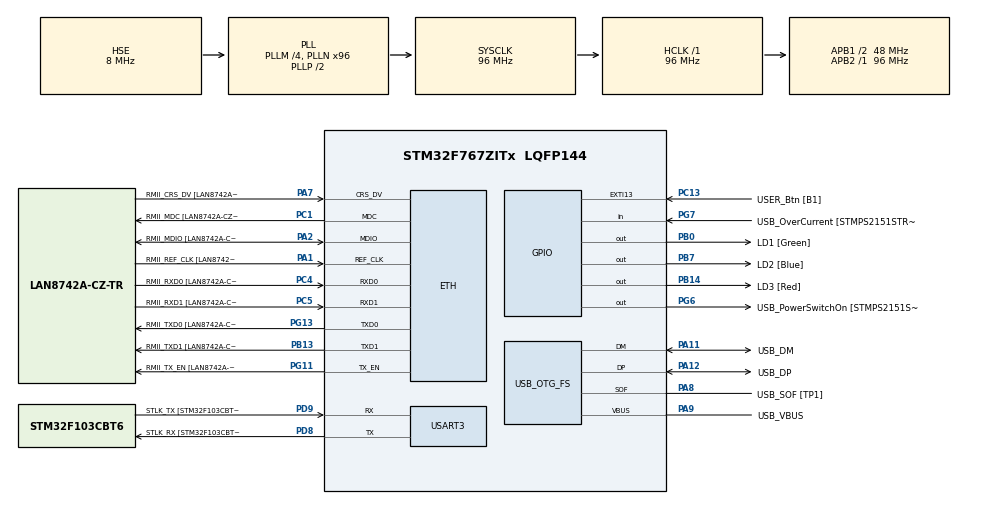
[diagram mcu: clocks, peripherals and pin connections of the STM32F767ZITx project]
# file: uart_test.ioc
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Mcu.Family=STM32F7
RCC.CortexFreq_Value=96000000
PG6.Signal=GPIO_Output
PB14.GPIO_Label=LD3 [Red]
PG6.GPIO_Label=USB_PowerSwitchOn [STMPS2151STR_EN]
PA14.GPIO_Label=TCK
RCC.SYSCLKSourceVirtual=RCC_SYSCLKSOURCE_PLLCLK
PA11.Mode=Device_Only
PB0.GPIO_Label=LD1 [Green]
PC14/OSC32_IN.Mode=LSE-External-Oscillator
PC5.Mode=RMII
PC13.GPIO_Label=USER_Btn [B1]
PB13.GPIO_Label=RMII_TXD1 [LAN8742A-CZ-TR_TXD1]
PB13.Signal=ETH_TXD1
PG13.Signal=ETH_TXD0
PD9.Mode=Asynchronous
PG11.Signal=ETH_TX_EN
RCC.SYSCLKSource=RCC_SYSCLKSOURCE_PLLCLK
ProjectManager.StackSize=0x400
USART3.VirtualMode-Asynchronous=VM_ASYNC
PA12.Signal=USB_OTG_FS_DP
ETH.PHY_Value=0
PH0/OSC_IN.Mode=HSE-External-Clock-Source
RCC.HCLKFreq_Value=96000000
RCC.APB2TimFreq_Value=96000000
PH1/OSC_OUT.Signal=RCC_OSC_OUT
PD8.Signal=USART3_TX
RCC.AHBFreq_Value=96000000
RCC.HSE_VALUE=8000000
RCC.PLLMUL=RCC_PLL_MUL9
PC4.GPIO_Label=RMII_RXD0 [LAN8742A-CZ-TR_RXD0]
PA14.Mode=Serial_Wire
PA10.GPIO_Label=USB_ID
PB7.Signal=GPIO_Output
PA8.Signal=USB_OTG_FS_SOF
PG13.Mode=RMII
ETH.PHY_Name=LAN8742A_PHY_ADDRESS
PH1/OSC_OUT.Mode=HSE-External-Clock-Source
PB7.GPIO_Label=LD2 [Blue]
Mcu.Package=LQFP144
PC14/OSC32_IN.Signal=RCC_OSC32_IN
PA2.GPIO_Label=RMII_MDIO [LAN8742A-CZ-TR_MDIO]
PA10.Signal=USB_OTG_FS_ID
USB_OTG_FS.VirtualMode=Device_Only
RCC.APB1TimFreq_Value=96000000
PG11.GPIO_Label=RMII_TX_EN [LAN8742A-CZ-TR_TXEN]
PC5.Signal=ETH_RXD1
PB13.Mode=RMII
PC4.Mode=RMII
PB3.GPIO_Label=SWO
PA7.Mode=RMII
PG7.Signal=GPIO_Input
PD9.GPIO_Label=STLK_TX [STM32F103CBT6_PA2]
PC13.Signal=GPXTI13
PA9.GPIO_Label=USB_VBUS
PC4.Signal=ETH_RXD0
PA11.GPIO_Label=USB_DM
PD9.Signal=USART3_RX
RCC.APB1CLKDivider=RCC_HCLK_DIV2
PG13.GPIO_Label=RMII_TXD0 [LAN8742A-CZ-TR_TXD0]
ETH.PhyAddress=0
PA12.GPIO_Label=USB_DP
PD8.GPIO_Label=STLK_RX [STM32F103CBT6_PA3]
PA13.Signal=SYS_JTMS-SWDIO
PA9.Mode=Activate_VBUS
PA8.GPIO_Label=USB_SOF [TP1]
ProjectManager.TargetToolchain=TrueSTUDIO
PA9.Signal=USB_OTG_FS_VBUS
RCC.USBFreq_Value=48000000
PD8.Mode=Asynchronous
PA1.Signal=ETH_REF_CLK
PB14.Signal=GPIO_Output
board=NUCLEO-F767ZI
RCC.VCOOutputFreq_Value=192000000
PH0/OSC_IN.Signal=RCC_OSC_IN
RCC.APB2Freq_Value=96000000
PA1.Mode=RMII
RCC.PRESCALERUSB=RCC_USBCLKSOURCE_PLL_DIV1_5
PG7.GPIO_Label=USB_OverCurrent [STMPS2151STR_FAULT]
PA1.GPIO_Label=RMII_REF_CLK [LAN8742A-CZ-TR_REFCLK0]
PC1.GPIO_Label=RMII_MDC [LAN8742A-CZ-TR_MDC]
PA13.Mode=Serial_Wire
Mcu.Name=STM32F767ZITx
PA2.Signal=ETH_MDIO
PA13.GPIO_Label=TMS
RCC.48MHZClocksFreq_Value=24000000
PB3.Signal=SYS_JTDO-SWO
RCC.SYSCLKFreq_VALUE=96000000
ETH.MediaInterface=ETH_MEDIA_INTERFACE_RMII
PA7.GPIO_Label=RMII_CRS_DV [LAN8742A-CZ-TR_CRS_DV]
PA12.Mode=Device_Only
PC5.GPIO_Label=RMII_RXD1 [LAN8742A-CZ-TR_RXD1]
PC15/OSC32_OUT.Mode=LSE-External-Oscillator
PG11.Mode=RMII
PA11.Signal=USB_OTG_FS_DM
PA14.Signal=SYS_JTCK-SWCLK
ProjectManager.HeapSize=0x200
RCC.HSI_VALUE=16000000
PH0/OSC_IN.GPIO_Label=MCO [STM32F103CBT6_PA8]
RCC.PLLQ=4
NVIC.PriorityGroup=NVIC_PRIORITYGROUP_4
RCC.PLLM=4
RCC.PLLN=96
PA2.Mode=RMII
PC15/OSC32_OUT.Signal=RCC_OSC32_OUT
PA8.Mode=Activate_SOF_FS
RCC.APB1Freq_Value=48000000
PB0.Signal=GPIO_Output
PC1.Signal=ETH_MDC
PC1.Mode=RMII
PA7.Signal=ETH_CRS_DV

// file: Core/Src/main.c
/* USER CODE BEGIN Header */
/**
  ******************************************************************************
  * @file           : main.c
  * @brief          : Main program body
  ******************************************************************************
  * @attention
  *
  * <h2><center>&copy; Copyright (c) 2021 STMicroelectronics.
  * All rights reserved.</center></h2>
  *
  * This software component is licensed by ST under BSD 3-Clause license,
  * the "License"; You may not use this file except in compliance with the
  * License. You may obtain a copy of the License at:
  *                        opensource.org/licenses/BSD-3-Clause
  *
  ******************************************************************************
  */
/* USER CODE END Header */
#include "main.h"

/* USER CODE BEGIN Includes */
#include "jsmn.h"
#include "string.h"
#include <stdio.h>

/* USER CODE END Includes */

ETH_HandleTypeDef heth;

UART_HandleTypeDef huart3;

PCD_HandleTypeDef hpcd_USB_OTG_FS;

/* USER CODE BEGIN PV */
//extern void jsmn_init(jsmn_parser *parser);

/* USER CODE END PV */

void SystemClock_Config(void);
static void MX_GPIO_Init(void);
static void MX_ETH_Init(void);
static void MX_USART3_UART_Init(void);
static void MX_USB_OTG_FS_PCD_Init(void);
/* USER CODE BEGIN PFP */
char t[]="{\"status\": \"OK\",\"message\": \"\",\"countryCode\": \"EG\", \"countryName\": \"Egypt\","
    "\"zoneName\": \"Africa/Cairo\", \"abbreviation\": \"EET\",\"gmtOffset\": 7200, \"dst\": \"0\",\"zoneStart\": 1411678800,"
    "\"zoneEnd\": null,"
    "\"nextAbbreviation\": null,"
    "\"timestamp\": 1616426640,"
    "\"formatted\": \"2021-03-22 15:24:00\""
	"}";
char buf[1000];
char buff[1000];

/* USER CODE END PFP */

int main(void)
{

  /* MCU Configuration--------------------------------------------------------*/

  /* Reset of all peripherals, Initializes the Flash interface and the Systick. */
  HAL_Init();

  /* Configure the system clock */
  SystemClock_Config();

  /* Initialize all configured peripherals */
  MX_GPIO_Init();
//  MX_ETH_Init();
  MX_USART3_UART_Init();
  MX_USB_OTG_FS_PCD_Init();
  /* USER CODE BEGIN 2 */
sprintf(buf,"Hello mohamed\n\r");
HAL_UART_Transmit(&huart3,buf,strlen(buf),1000);
sprintf(buf,"%s\n\r",t);
HAL_UART_Transmit(&huart3,buf,strlen(buf),1000);
char *token;
int i=0;
token = strtok(t, ":");
volatile uint8_t years[4], Month[2], hours[2], mintues[2], days[2], second[2];
uint16_t years_int, Month_int, hours_int, mintues_int, days_int, second_int;
while(token != NULL){
switch(i){
            case 13:
                sprintf(buf, " main token: %s \n\r",token);
                HAL_UART_Transmit(&huart3,buf,strlen(buf),1000);
            	for (int ie=0; ie<15; ie++)
            	{
            		switch(ie){
            		case 2:
            		years[0] = *(token);break;
              		case 3:
                      years[1] = *(token);break;
             		case 4:
                     years[2] = *(token);break;
             		case 5:
                     years[3] = *(token);   break;
            		case 7:
            			Month[0] = *(token);break;
              		case 8:
              			Month[1] = *(token);break;
             		case 10:
             			days  [0] = *(token);break;
             		case 11:
             			days[1] = *(token);  break;
             		case 13:
             			hours[0] = *(token);break;
             		case 14:
             			hours[1] = *(token);break;
                    default:
                        break;
            		}
            		*token++;
            	}
                sprintf(buf,"                                                             ");
                years_int = atoi(years);
                sprintf(buf,"Value years is %d \n\r",years_int);
                HAL_UART_Transmit(&huart3,buf,strlen(buf),1000);
                sprintf(buf,"                                                              ");
                Month_int = atoi(Month);
                sprintf(buf,"Value  Mon:%d \n\r",Month_int);HAL_UART_Transmit(&huart3,buf,strlen(buf),1000);
                sprintf(buf,"                                                              ");
                days_int = atoi(days);
                sprintf(buf,"Value  days:%d \n\r",days_int);HAL_UART_Transmit(&huart3,buf,strlen(buf),1000);
                sprintf(buf,"                                                              ");
                hours_int = atoi(hours);
                sprintf(buf,"Value  ho:%d \n\r",hours_int);HAL_UART_Transmit(&huart3,buf,strlen(buf),1000);
                sprintf(buf,"                                                              ");
                break;
            case 14:
            	for (int e=0; e<3; e++)
            	{
            		mintues[e] = *(token);
            		*token++;
            	}
                sprintf(buf,"                                                              ");
                mintues_int = atoi(mintues);
                sprintf(buf,"Value mintues is %d \n\r",mintues_int);
                HAL_UART_Transmit(&huart3,buf,strlen(buf),1000);
                break;
            case 15:
            	for (int h=0; h<3; h++)
            	{
            		second[h] = *(token);
            		*token++;
            	}
                sprintf(buf,"                                                   ");
                second_int = atoi(second);
                sprintf(buf,"Value second is %d \n\r",second_int);
                HAL_UART_Transmit(&huart3,buf,strlen(buf),1000);
                break;
            default:
               // sprintf(buf,"                                                              ");

             //   sprintf(buf, "no:%d token: %s \n\r",i,token);
                //HAL_UART_Transmit(&huart3,buf,strlen(buf),1000);
                break;
}

    i++;
    token = strtok(NULL, ":");

}

  /* USER CODE END 2 */

  /* Infinite loop */
  while (1)
  {

  }
}

void SystemClock_Config(void)
{
  RCC_OscInitTypeDef RCC_OscInitStruct = {0};
  RCC_ClkInitTypeDef RCC_ClkInitStruct = {0};
  RCC_PeriphCLKInitTypeDef PeriphClkInitStruct = {0};

  /** Configure LSE Drive Capability
  */
  HAL_PWR_EnableBkUpAccess();
  /** Configure the main internal regulator output voltage
  */
  __HAL_RCC_PWR_CLK_ENABLE();
  __HAL_PWR_VOLTAGESCALING_CONFIG(PWR_REGULATOR_VOLTAGE_SCALE3);
  /** Initializes the RCC Oscillators according to the specified parameters
  * in the RCC_OscInitTypeDef structure.
  */
  RCC_OscInitStruct.OscillatorType = RCC_OSCILLATORTYPE_HSE;
  RCC_OscInitStruct.HSEState = RCC_HSE_BYPASS;
  RCC_OscInitStruct.PLL.PLLState = RCC_PLL_ON;
  RCC_OscInitStruct.PLL.PLLSource = RCC_PLLSOURCE_HSE;
  RCC_OscInitStruct.PLL.PLLM = 4;
  RCC_OscInitStruct.PLL.PLLN = 96;
  RCC_OscInitStruct.PLL.PLLP = RCC_PLLP_DIV2;
  RCC_OscInitStruct.PLL.PLLQ = 4;
  if (HAL_RCC_OscConfig(&RCC_OscInitStruct) != HAL_OK)
  {
    Error_Handler();
  }
  /** Activate the Over-Drive mode
  */
  if (HAL_PWREx_EnableOverDrive() != HAL_OK)
  {
    Error_Handler();
  }
  /** Initializes the CPU, AHB and APB buses clocks
  */
  RCC_ClkInitStruct.ClockType = RCC_CLOCKTYPE_HCLK|RCC_CLOCKTYPE_SYSCLK
                              |RCC_CLOCKTYPE_PCLK1|RCC_CLOCKTYPE_PCLK2;
  RCC_ClkInitStruct.SYSCLKSource = RCC_SYSCLKSOURCE_PLLCLK;
  RCC_ClkInitStruct.AHBCLKDivider = RCC_SYSCLK_DIV1;
  RCC_ClkInitStruct.APB1CLKDivider = RCC_HCLK_DIV2;
  RCC_ClkInitStruct.APB2CLKDivider = RCC_HCLK_DIV1;

  if (HAL_RCC_ClockConfig(&RCC_ClkInitStruct, FLASH_LATENCY_3) != HAL_OK)
  {
    Error_Handler();
  }
  PeriphClkInitStruct.PeriphClockSelection = RCC_PERIPHCLK_USART3|RCC_PERIPHCLK_CLK48;
  PeriphClkInitStruct.Usart3ClockSelection = RCC_USART3CLKSOURCE_PCLK1;
  PeriphClkInitStruct.Clk48ClockSelection = RCC_CLK48SOURCE_PLL;
  if (HAL_RCCEx_PeriphCLKConfig(&PeriphClkInitStruct) != HAL_OK)
  {
    Error_Handler();
  }
}

static void MX_ETH_Init(void)
{

  heth.Instance = ETH;
  heth.Init.AutoNegotiation = ETH_AUTONEGOTIATION_ENABLE;
  heth.Init.Speed = ETH_SPEED_100M;
  heth.Init.DuplexMode = ETH_MODE_FULLDUPLEX;
  heth.Init.PhyAddress = LAN8742A_PHY_ADDRESS;
  heth.Init.MACAddr[0] =   0x00;
  heth.Init.MACAddr[1] =   0x80;
  heth.Init.MACAddr[2] =   0xE1;
  heth.Init.MACAddr[3] =   0x00;
  heth.Init.MACAddr[4] =   0x00;
  heth.Init.MACAddr[5] =   0x00;
  heth.Init.RxMode = ETH_RXPOLLING_MODE;
  heth.Init.ChecksumMode = ETH_CHECKSUM_BY_HARDWARE;
  heth.Init.MediaInterface = ETH_MEDIA_INTERFACE_RMII;

  if (HAL_ETH_Init(&heth) != HAL_OK)
  {
    Error_Handler();
  }

}

static void MX_USART3_UART_Init(void)
{

  huart3.Instance = USART3;
  huart3.Init.BaudRate = 115200;
  huart3.Init.WordLength = UART_WORDLENGTH_8B;
  huart3.Init.StopBits = UART_STOPBITS_1;
  huart3.Init.Parity = UART_PARITY_NONE;
  huart3.Init.Mode = UART_MODE_TX_RX;
  huart3.Init.HwFlowCtl = UART_HWCONTROL_NONE;
  huart3.Init.OverSampling = UART_OVERSAMPLING_16;
  huart3.Init.OneBitSampling = UART_ONE_BIT_SAMPLE_DISABLE;
  huart3.AdvancedInit.AdvFeatureInit = UART_ADVFEATURE_NO_INIT;
  if (HAL_UART_Init(&huart3) != HAL_OK)
  {
    Error_Handler();
  }

}

static void MX_USB_OTG_FS_PCD_Init(void)
{

  hpcd_USB_OTG_FS.Instance = USB_OTG_FS;
  hpcd_USB_OTG_FS.Init.dev_endpoints = 6;
  hpcd_USB_OTG_FS.Init.speed = PCD_SPEED_FULL;
  hpcd_USB_OTG_FS.Init.dma_enable = DISABLE;
  hpcd_USB_OTG_FS.Init.phy_itface = PCD_PHY_EMBEDDED;
  hpcd_USB_OTG_FS.Init.Sof_enable = ENABLE;
  hpcd_USB_OTG_FS.Init.low_power_enable = DISABLE;
  hpcd_USB_OTG_FS.Init.lpm_enable = DISABLE;
  hpcd_USB_OTG_FS.Init.vbus_sensing_enable = ENABLE;
  hpcd_USB_OTG_FS.Init.use_dedicated_ep1 = DISABLE;
  if (HAL_PCD_Init(&hpcd_USB_OTG_FS) != HAL_OK)
  {
    Error_Handler();
  }

}

static void MX_GPIO_Init(void)
{
  GPIO_InitTypeDef GPIO_InitStruct = {0};

  /* GPIO Ports Clock Enable */
  __HAL_RCC_GPIOC_CLK_ENABLE();
  __HAL_RCC_GPIOH_CLK_ENABLE();
  __HAL_RCC_GPIOA_CLK_ENABLE();
  __HAL_RCC_GPIOB_CLK_ENABLE();
  __HAL_RCC_GPIOD_CLK_ENABLE();
  __HAL_RCC_GPIOG_CLK_ENABLE();

  /*Configure GPIO pin Output Level */
  HAL_GPIO_WritePin(GPIOB, LD1_Pin|LD3_Pin|LD2_Pin, GPIO_PIN_RESET);

  /*Configure GPIO pin Output Level */
  HAL_GPIO_WritePin(USB_PowerSwitchOn_GPIO_Port, USB_PowerSwitchOn_Pin, GPIO_PIN_RESET);

  /*Configure GPIO pin : USER_Btn_Pin */
  GPIO_InitStruct.Pin = USER_Btn_Pin;
  GPIO_InitStruct.Mode = GPIO_MODE_IT_RISING;
  GPIO_InitStruct.Pull = GPIO_NOPULL;
  HAL_GPIO_Init(USER_Btn_GPIO_Port, &GPIO_InitStruct);

  /*Configure GPIO pins : LD1_Pin LD3_Pin LD2_Pin */
  GPIO_InitStruct.Pin = LD1_Pin|LD3_Pin|LD2_Pin;
  GPIO_InitStruct.Mode = GPIO_MODE_OUTPUT_PP;
  GPIO_InitStruct.Pull = GPIO_NOPULL;
  GPIO_InitStruct.Speed = GPIO_SPEED_FREQ_LOW;
  HAL_GPIO_Init(GPIOB, &GPIO_InitStruct);

  /*Configure GPIO pin : USB_PowerSwitchOn_Pin */
  GPIO_InitStruct.Pin = USB_PowerSwitchOn_Pin;
  GPIO_InitStruct.Mode = GPIO_MODE_OUTPUT_PP;
  GPIO_InitStruct.Pull = GPIO_NOPULL;
  GPIO_InitStruct.Speed = GPIO_SPEED_FREQ_LOW;
  HAL_GPIO_Init(USB_PowerSwitchOn_GPIO_Port, &GPIO_InitStruct);

  /*Configure GPIO pin : USB_OverCurrent_Pin */
  GPIO_InitStruct.Pin = USB_OverCurrent_Pin;
  GPIO_InitStruct.Mode = GPIO_MODE_INPUT;
  GPIO_InitStruct.Pull = GPIO_NOPULL;
  HAL_GPIO_Init(USB_OverCurrent_GPIO_Port, &GPIO_InitStruct);

}

void Error_Handler(void)
{
  __disable_irq();
  while (1)
  {
  }
}

/************************ (C) COPYRIGHT STMicroelectronics *****END OF FILE****/
